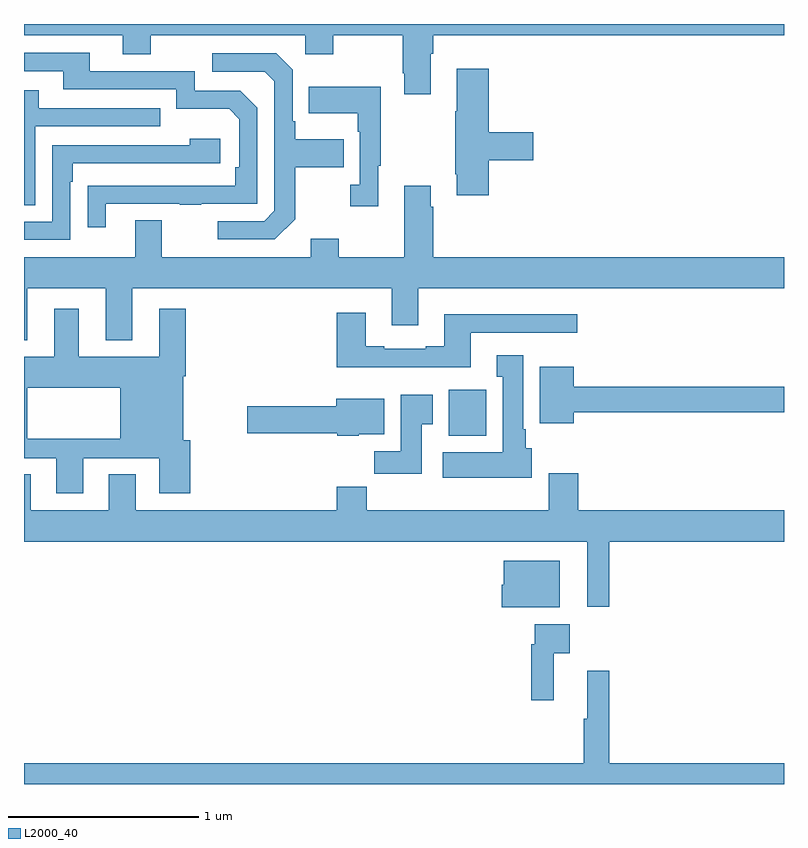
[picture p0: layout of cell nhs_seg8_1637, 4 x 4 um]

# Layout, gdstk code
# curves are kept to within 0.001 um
import gdstk
lib = gdstk.Library(unit=1e-6, precision=1e-09)
def R(c, l, rs):  # rectangles x0, y0, x1, y1
    for r in rs: c.add(gdstk.rectangle(r[:2], r[2:], *l))
def P(c, l, *ps):  # polygons
    for p in ps: c.add(gdstk.Polygon(p, *l))
L2000_40 = (2000, 40)

nhs_seg8_1637 = lib.new_cell('nhs_seg8_1637')
R(nhs_seg8_1637, L2000_40, [(217.235,1107.734,217.432,1107.976)])
P(nhs_seg8_1637, L2000_40, [(217.141,1109.744),(217.154,1109.744),(217.154,1109.84),(219,1109.84),(219,1109.9),(215,1109.9),(215,1109.84),(215.519,1109.84),(215.519,1109.741),(215.667,1109.741),(215.667,1109.84),(216.48,1109.84),(216.48,1109.741),(216.627,1109.741),(216.627,1109.84),(216.994,1109.84),(216.994,1109.641),(217.001,1109.641),(217.001,1109.529),(217.141,1109.529)],
  [(215.431,1108.953),(215.821,1108.953),(215.821,1108.948),(215.933,1108.948),(215.933,1108.953),(216.228,1108.953),(216.228,1109.46),(216.138,1109.55),(215.898,1109.55),(215.898,1109.652),(215.347,1109.652),(215.347,1109.748),(215,1109.748),(215,1109.652),(215.207,1109.652),(215.207,1109.556),(215.802,1109.556),(215.802,1109.453),(216.079,1109.453),(216.132,1109.4),(216.132,1109.146),(216.112,1109.146),(216.112,1109.049),(215.335,1109.048),(215.335,1108.83),(215.431,1108.83)],
  [(216.427,1108.873),(216.427,1109.146),(216.683,1109.146),(216.683,1109.293),(216.427,1109.293),(216.427,1109.389),(216.414,1109.389),(216.414,1109.658),(216.327,1109.745),(215.991,1109.745),(215.991,1109.649),(216.267,1109.649),(216.318,1109.598),(216.318,1108.917),(216.264,1108.863),(216.021,1108.863),(216.021,1108.767),(216.321,1108.767)],
  [(217.445,1109.183),(217.681,1109.183),(217.681,1109.33),(217.445,1109.33),(217.445,1109.665),(217.277,1109.665),(217.277,1109.441),(217.27,1109.441),(217.27,1109.11),(217.277,1109.11),(217.277,1108.998),(217.445,1108.998)],
  [(216.865,1109.153),(216.877,1109.153),(216.877,1109.569),(216.499,1109.569),(216.499,1109.429),(216.756,1109.429),(216.756,1109.333),(216.768,1109.333),(216.768,1109.054),(216.717,1109.054),(216.717,1108.941),(216.865,1108.941)],
  [(215.058,1109.361),(215.717,1109.361),(215.717,1109.457),(215.077,1109.457),(215.077,1109.551),(215,1109.551),(215,1108.945),(215.058,1108.945)],
  [(215.244,1109.069),(215.257,1109.069),(215.257,1109.166),(216.034,1109.166),(216.034,1109.296),(215.873,1109.296),(215.873,1109.262),(215.148,1109.262),(215.148,1108.86),(215,1108.86),(215,1108.764),(215.244,1108.764)],
  [(215.017,1108.508),(215.429,1108.508),(215.429,1108.235),(215.569,1108.235),(215.569,1108.508),(216.935,1108.508),(216.935,1108.314),(217.075,1108.314),(217.075,1108.508),(219,1108.508),(219,1108.672),(217.154,1108.672),(217.154,1108.937),(217.141,1108.937),(217.141,1109.05),(217.001,1109.05),(217.001,1108.672),(216.657,1108.672),(216.657,1108.771),(216.509,1108.771),(216.509,1108.672),(215.725,1108.672),(215.725,1108.867),(215.585,1108.867),(215.585,1108.672),(215,1108.672),(215,1108.235),(215.017,1108.235)],
  [(215.171,1107.615),(215.171,1107.429),(215.311,1107.429),(215.311,1107.615),(215.711,1107.615),(215.711,1107.429),(215.876,1107.429),(215.876,1107.708),(215.839,1107.708),(215.839,1108.046),(215.852,1108.046),(215.852,1108.402),(215.711,1108.402),(215.711,1108.15),(215.287,1108.15),(215.287,1108.402),(215.159,1108.402),(215.159,1108.15),(215,1108.15),(215,1107.716),(215.016,1107.716),(215.016,1107.986),(215.507,1107.986),(215.507,1107.716),(215.016,1107.716),(215,1107.716),(215,1107.615)],
  [(217.351,1108.275),(217.912,1108.275),(217.912,1108.372),(217.211,1108.372),(217.211,1108.204),(217.115,1108.204),(217.115,1108.191),(216.895,1108.191),(216.895,1108.204),(216.799,1108.204),(216.799,1108.381),(216.647,1108.381),(216.647,1108.094),(217.351,1108.094)],
  [(217.672,1107.666),(217.642,1107.666),(217.642,1107.766),(217.627,1107.766),(217.627,1108.156),(217.487,1108.156),(217.487,1108.043),(217.52,1108.043),(217.52,1107.646),(217.203,1107.646),(217.203,1107.512),(217.672,1107.512)],
  [(217.894,1107.856),(219,1107.856),(219,1107.992),(217.894,1107.992),(217.894,1108.096),(217.715,1108.096),(217.715,1107.8),(217.894,1107.8)],
  [(217.093,1107.793),(217.15,1107.793),(217.15,1107.949),(216.983,1107.949),(216.983,1107.652),(216.844,1107.652),(216.844,1107.534),(217.093,1107.534)],
  [(216.762,1107.74),(216.895,1107.74),(216.895,1107.928),(216.644,1107.928),(216.644,1107.887),(216.174,1107.887),(216.174,1107.745),(216.648,1107.745),(216.648,1107.734),(216.762,1107.734)],
  [(218.081,1107.176),(219,1107.176),(219,1107.34),(217.916,1107.34),(217.916,1107.535),(217.763,1107.535),(217.763,1107.34),(216.803,1107.34),(216.803,1107.464),(216.647,1107.464),(216.647,1107.34),(215.587,1107.34),(215.587,1107.53),(215.447,1107.53),(215.447,1107.34),(215.035,1107.34),(215.035,1107.53),(215,1107.53),(215,1107.176),(217.964,1107.176),(217.964,1106.832),(218.081,1106.832)],
  [(217.819,1107.076),(217.526,1107.076),(217.526,1106.949),(217.514,1106.949),(217.514,1106.831),(217.819,1106.831)],
  [(217.787,1106.588),(217.873,1106.588),(217.873,1106.74),(217.689,1106.74),(217.689,1106.636),(217.669,1106.636),(217.669,1106.34),(217.787,1106.34)],
  [(219,1106.008),(218.081,1106.008),(218.081,1106.497),(217.964,1106.497),(217.964,1106.244),(217.945,1106.244),(217.945,1106.008),(215,1106.008),(215,1105.9),(219,1105.9)])

lib.write_gds('nhs_seg8_1637.gds')
